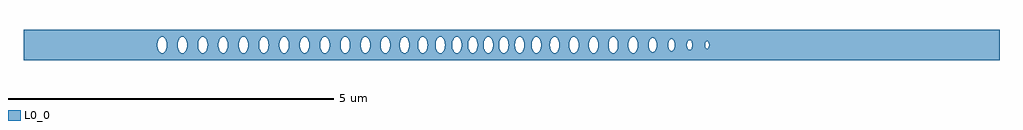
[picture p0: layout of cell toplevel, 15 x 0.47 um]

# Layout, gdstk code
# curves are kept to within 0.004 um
import gdstk
lib = gdstk.Library(unit=1e-6, precision=1e-09)
def P(c, l, *ps):  # polygons
    for p in ps: c.add(gdstk.Polygon(p, *l))
L0_0 = (0, 0)

toplevel = lib.new_cell('toplevel')
P(toplevel, L0_0, [(-4.771,-0.234),(-4.771,-0.119),(-4.801,-0.081),(-4.817,-0.016),(-4.815,0.032),(-4.806,0.068),(-4.791,0.098),(-4.771,0.119),(-4.771,0.234),(-7.5,0.234),(-7.5,0),(-5.443,0),(-5.438,0.047),(-5.42,0.093),(-5.397,0.119),(-5.37,0.128),(-5.344,0.119),(-5.317,0.087),(-5.301,0.039),(-5.298,-0.008),(-5.13,-0.008),(-5.125,0.047),(-5.107,0.093),(-5.084,0.119),(-5.057,0.128),(-5.031,0.119),(-5.011,0.098),(-4.996,0.068),(-4.985,0.008),(-4.99,-0.047),(-5.008,-0.093),(-5.031,-0.119),(-5.057,-0.128),(-5.084,-0.119),(-5.104,-0.098),(-5.119,-0.068),(-5.13,-0.008),(-5.298,-0.008),(-5.301,-0.039),(-5.317,-0.087),(-5.344,-0.119),(-5.37,-0.128),(-5.397,-0.119),(-5.42,-0.093),(-5.438,-0.047),(-5.443,0),(-7.5,0),(-7.5,-0.234)],
  [(-4.189,0.032),(-4.169,0.093),(-4.154,0.112),(-4.133,0.125),(-4.119,0.128),(-4.093,0.119),(-4.073,0.098),(-4.058,0.068),(-4.058,0.234),(-4.771,0.234),(-4.771,0.119),(-4.745,0.128),(-4.731,0.125),(-4.702,0.103),(-4.677,0.047),(-4.673,-0.016),(-4.504,-0.016),(-4.502,0.032),(-4.491,0.075),(-4.467,0.112),(-4.432,0.128),(-4.405,0.119),(-4.382,0.093),(-4.36,0.016),(-4.362,-0.032),(-4.373,-0.075),(-4.397,-0.112),(-4.432,-0.128),(-4.459,-0.119),(-4.482,-0.093),(-4.498,-0.054),(-4.504,-0.016),(-4.673,-0.016),(-4.686,-0.075),(-4.706,-0.108),(-4.718,-0.119),(-4.745,-0.128),(-4.771,-0.119),(-4.771,-0.234),(-4.058,-0.234),(-4.058,-0.068),(-4.073,-0.098),(-4.093,-0.119),(-4.119,-0.128),(-4.146,-0.119),(-4.169,-0.093),(-4.187,-0.047),(-4.192,-0.008)],
  [(-4.049,-0.032),(-4.058,-0.068),(-4.058,-0.234),(-3.227,-0.234),(-3.227,-0.098),(-3.245,-0.061),(-3.253,-0.016),(-3.247,0.054),(-3.227,0.098),(-3.227,0.234),(-4.058,0.234),(-4.058,0.068),(-4.047,-0.008),(-3.879,-0.008),(-3.874,0.047),(-3.856,0.093),(-3.833,0.119),(-3.807,0.128),(-3.78,0.119),(-3.757,0.093),(-3.739,0.047),(-3.735,-0.016),(-3.566,-0.016),(-3.561,0.047),(-3.55,0.081),(-3.533,0.108),(-3.494,0.128),(-3.467,0.119),(-3.435,0.075),(-3.421,0),(-3.435,-0.075),(-3.455,-0.108),(-3.48,-0.125),(-3.507,-0.125),(-3.533,-0.108),(-3.555,-0.068),(-3.566,-0.016),(-3.735,-0.016),(-3.745,-0.068),(-3.76,-0.098),(-3.78,-0.119),(-3.807,-0.128),(-3.833,-0.119),(-3.853,-0.098),(-3.868,-0.068),(-3.879,-0.008),(-4.047,-0.008)],
  [(-3.22,0.108),(-3.208,0.119),(-3.181,0.128),(-3.154,0.119),(-3.142,0.108),(-3.125,0.081),(-3.114,0.047),(-3.109,-0.008),(-2.941,-0.008),(-2.936,0.047),(-2.915,0.098),(-2.891,0.121),(-2.868,0.128),(-2.855,0.125),(-2.833,0.112),(-2.81,0.075),(-2.798,0.032),(-2.796,-0.008),(-2.801,-0.047),(-2.819,-0.093),(-2.842,-0.119),(-2.868,-0.128),(-2.895,-0.119),(-2.915,-0.098),(-2.932,-0.061),(-2.941,-0.008),(-3.109,-0.008),(-3.125,-0.081),(-3.154,-0.119),(-3.181,-0.128),(-3.195,-0.125),(-3.227,-0.098),(-3.227,-0.234),(-2.517,-0.234),(-2.517,-0.108),(-2.529,-0.119),(-2.556,-0.128),(-2.591,-0.112),(-2.617,-0.068),(-2.628,-0.008),(-2.617,0.068),(-2.591,0.112),(-2.556,0.128),(-2.529,0.119),(-2.517,0.108),(-2.517,0.234),(-3.227,0.234),(-3.227,0.098)],
  [(-2.487,-0.039),(-2.497,-0.075),(-2.517,-0.108),(-2.517,-0.234),(-1.679,-0.234),(-1.679,-0.112),(-1.706,-0.068),(-1.717,-0.008),(-1.706,0.068),(-1.679,0.112),(-1.679,0.234),(-2.517,0.234),(-2.517,0.108),(-2.492,0.061),(-2.483,-0.008),(-2.317,-0.008),(-2.312,0.047),(-2.294,0.093),(-2.271,0.119),(-2.245,0.128),(-2.218,0.119),(-2.195,0.093),(-2.177,0.047),(-2.172,-0.008),(-2.012,-0.008),(-2.007,0.047),(-1.989,0.093),(-1.966,0.119),(-1.939,0.128),(-1.913,0.119),(-1.893,0.098),(-1.878,0.068),(-1.867,0.016),(-1.87,-0.039),(-1.881,-0.075),(-1.904,-0.112),(-1.939,-0.128),(-1.966,-0.119),(-1.989,-0.093),(-2.007,-0.047),(-2.012,-0.008),(-2.172,-0.008),(-2.183,-0.068),(-2.198,-0.098),(-2.218,-0.119),(-2.245,-0.128),(-2.271,-0.119),(-2.291,-0.098),(-2.306,-0.068),(-2.317,-0.008),(-2.483,-0.008)],
  [(-1.166,0.016),(-1.156,0.068),(-1.141,0.098),(-1.121,0.119),(-1.094,0.128),(-1.068,0.119),(-1.048,0.098),(-1.026,0.039),(-1.026,0.234),(-1.679,0.234),(-1.679,0.112),(-1.644,0.128),(-1.618,0.119),(-1.606,0.108),(-1.583,0.068),(-1.572,-0.008),(-1.435,-0.008),(-1.43,0.047),(-1.412,0.093),(-1.389,0.119),(-1.363,0.128),(-1.336,0.119),(-1.316,0.098),(-1.301,0.068),(-1.29,0.008),(-1.295,-0.047),(-1.313,-0.093),(-1.336,-0.119),(-1.363,-0.128),(-1.389,-0.119),(-1.409,-0.098),(-1.424,-0.068),(-1.435,-0.008),(-1.572,-0.008),(-1.583,-0.068),(-1.61,-0.112),(-1.644,-0.128),(-1.679,-0.112),(-1.679,-0.234),(-1.026,-0.234),(-1.026,-0.041),(-1.036,-0.075),(-1.056,-0.108),(-1.081,-0.125),(-1.108,-0.125),(-1.133,-0.108),(-1.156,-0.068),(-1.166,-0.024)],
  [(-1.023,-0.024),(-1.026,-0.234),(-0.382,-0.234),(-0.382,-0.119),(-0.412,-0.081),(-0.428,-0.016),(-0.426,0.032),(-0.417,0.068),(-0.402,0.098),(-0.382,0.119),(-0.382,0.234),(-1.026,0.234),(-1.022,-0.008),(-0.912,-0.008),(-0.907,0.047),(-0.889,0.093),(-0.866,0.119),(-0.839,0.128),(-0.805,0.112),(-0.781,0.075),(-0.769,0.032),(-0.768,-0.016),(-0.667,-0.016),(-0.664,0.039),(-0.641,0.098),(-0.608,0.125),(-0.595,0.128),(-0.568,0.119),(-0.536,0.075),(-0.527,0.047),(-0.522,-0.008),(-0.527,-0.047),(-0.545,-0.093),(-0.56,-0.112),(-0.581,-0.125),(-0.608,-0.125),(-0.63,-0.112),(-0.656,-0.068),(-0.667,-0.016),(-0.768,-0.016),(-0.778,-0.068),(-0.793,-0.098),(-0.813,-0.119),(-0.839,-0.128),(-0.866,-0.119),(-0.886,-0.098),(-0.901,-0.068),(-0.912,-0.008),(-1.022,-0.008)],
  [(-0.382,0.234),(-0.382,0.119),(-0.356,0.128),(-0.342,0.125),(-0.313,0.103),(-0.29,0.054),(-0.284,-0.008),(-0.191,-0.008),(-0.186,0.047),(-0.168,0.093),(-0.145,0.119),(-0.119,0.128),(-0.092,0.119),(-0.072,0.098),(-0.057,0.068),(-0.046,0.008),(-0.051,-0.047),(-0.069,-0.093),(-0.092,-0.119),(-0.119,-0.128),(-0.145,-0.119),(-0.165,-0.098),(-0.18,-0.068),(-0.191,-0.008),(-0.284,-0.008),(-0.292,-0.061),(-0.317,-0.108),(-0.329,-0.119),(-0.356,-0.128),(-0.382,-0.119),(-0.382,-0.234),(0.182,-0.234),(0.182,-0.075),(0.15,-0.119),(0.124,-0.128),(0.097,-0.119),(0.065,-0.075),(0.051,-0.008),(0.056,0.047),(0.065,0.075),(0.097,0.119),(0.124,0.128),(0.15,0.119),(0.182,0.075),(0.182,0.234)],
  [(0.888,0.016),(0.901,0.075),(0.933,0.119),(0.933,0.234),(0.182,0.234),(0.182,0.074),(0.193,0.039),(0.195,-0.016),(0.31,-0.016),(0.312,0.032),(0.323,0.075),(0.347,0.112),(0.382,0.128),(0.409,0.119),(0.432,0.093),(0.448,0.054),(0.454,-0.008),(0.59,-0.008),(0.595,0.047),(0.613,0.093),(0.636,0.119),(0.663,0.128),(0.689,0.119),(0.709,0.098),(0.724,0.068),(0.735,0.008),(0.732,-0.039),(0.712,-0.093),(0.689,-0.119),(0.663,-0.128),(0.636,-0.119),(0.613,-0.093),(0.595,-0.047),(0.59,-0.008),(0.454,-0.008),(0.448,-0.054),(0.432,-0.093),(0.409,-0.119),(0.382,-0.128),(0.355,-0.119),(0.332,-0.093),(0.31,-0.016),(0.195,-0.016),(0.182,-0.075),(0.182,-0.234),(0.933,-0.234),(0.933,-0.119),(0.913,-0.098),(0.898,-0.068),(0.888,-0.024)],
  [(1.493,0.032),(1.504,0.075),(1.536,0.119),(1.563,0.128),(1.577,0.125),(1.609,0.098),(1.609,0.234),(0.933,0.234),(0.933,0.119),(0.959,0.128),(0.973,0.125),(1.006,0.098),(1.027,0.047),(1.031,-0.016),(1.189,-0.016),(1.192,0.039),(1.205,0.081),(1.226,0.112),(1.261,0.128),(1.288,0.119),(1.311,0.093),(1.327,0.054),(1.334,0),(1.327,-0.054),(1.311,-0.093),(1.288,-0.119),(1.261,-0.128),(1.235,-0.119),(1.215,-0.098),(1.2,-0.068),(1.189,-0.016),(1.031,-0.016),(1.021,-0.068),(0.998,-0.108),(0.986,-0.119),(0.959,-0.128),(0.933,-0.119),(0.933,-0.234),(1.609,-0.234),(1.609,-0.098),(1.59,-0.119),(1.563,-0.128),(1.536,-0.119),(1.524,-0.108),(1.497,-0.054),(1.491,-0.016)],
  [(2.416,0.05),(2.437,0.085),(2.463,0.094),(2.482,0.085),(2.5,0.06),(2.511,0.018),(2.511,-0.014),(2.695,-0.014),(2.704,0.049),(2.719,0.07),(2.739,0.077),(2.754,0.07),(2.769,0.049),(2.778,-0.011),(2.974,-0.011),(2.982,0.041),(2.994,0.056),(3.009,0.06),(3.03,0.038),(3.037,-0.011),(3.026,-0.046),(3.009,-0.06),(2.988,-0.051),(2.974,-0.011),(2.778,-0.011),(2.767,-0.053),(2.754,-0.07),(2.739,-0.077),(2.714,-0.065),(2.695,-0.014),(2.511,-0.014),(2.498,-0.064),(2.482,-0.085),(2.463,-0.094),(2.437,-0.085),(2.414,-0.046),(2.414,-0.234),(7.5,-0.234),(7.5,0.234),(2.414,0.234)],
  [(1.633,-0.032),(1.622,-0.075),(1.609,-0.098),(1.609,-0.234),(1.94,-0.234),(1.94,-0.018),(1.929,-0.068),(1.914,-0.098),(1.894,-0.119),(1.868,-0.128),(1.841,-0.119),(1.818,-0.093),(1.802,-0.054),(1.795,0),(1.802,0.054),(1.818,0.093),(1.841,0.119),(1.868,0.128),(1.894,0.119),(1.914,0.098),(1.929,0.068),(1.94,0.016),(1.94,0.234),(1.609,0.234),(1.609,0.098),(1.632,0.039)],
  [(2.414,-0.234),(2.414,-0.045),(2.408,-0.018),(2.414,0.044),(2.414,0.234),(1.94,0.234),(1.94,-0.014),(2.108,-0.014),(2.112,0.041),(2.122,0.071),(2.147,0.103),(2.17,0.111),(2.193,0.103),(2.213,0.081),(2.232,0.014),(2.228,-0.041),(2.218,-0.071),(2.193,-0.103),(2.17,-0.111),(2.147,-0.103),(2.127,-0.081),(2.108,-0.014),(1.94,-0.014),(1.94,-0.234)])

lib.write_gds('toplevel.gds')
